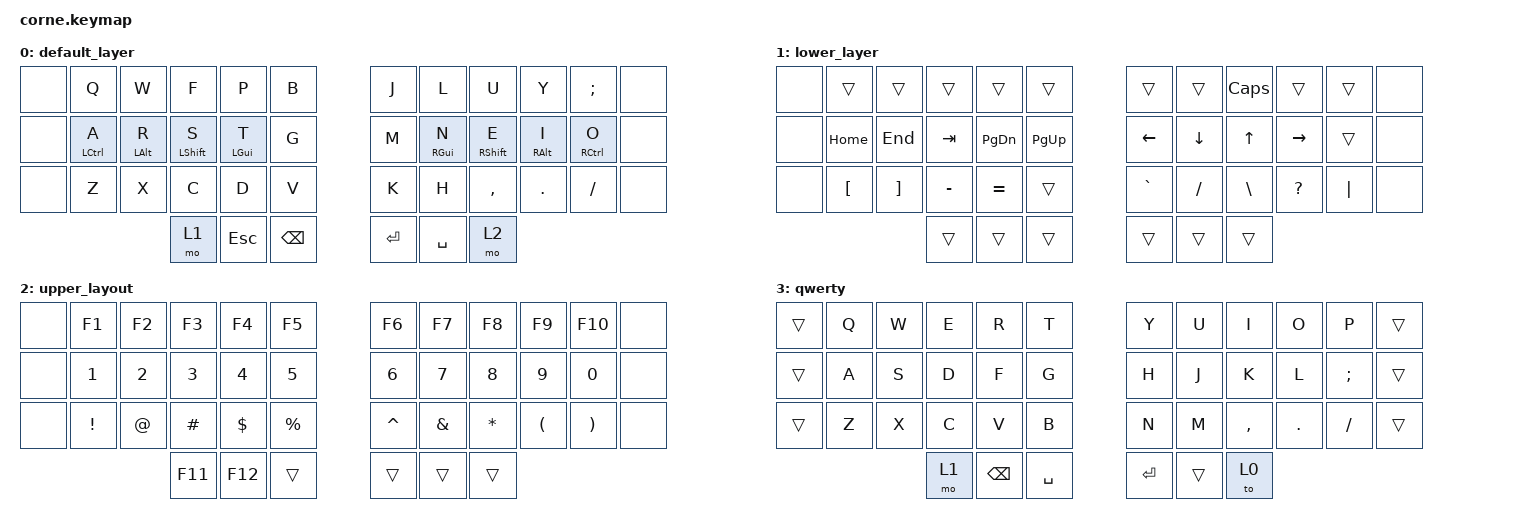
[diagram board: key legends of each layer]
/*
 * Copyright (c) 2020 The ZMK Contributors
 *
 * SPDX-License-Identifier: MIT
 */

#include <behaviors.dtsi>
#include <dt-bindings/zmk/keys.h>

&mt {
    require-prior-idle-ms = <125>;
    tapping-term-ms = <250>;
    flavor = "tap-preferred";
    quick-tap-ms = <250>;
};

/ {
    keymap {
        compatible = "zmk,keymap";

        default_layer {
            // -----------------------------------------------------------------------------------------
            // |  TAB |  Q  |  W  |  E  |  R  |  T  |   |  Y  |  U   |  I  |  O  |  P  | BKSP |
            // | CTRL |  A  |  S  |  D  |  F  |  G  |   |  H  |  J   |  K  |  L  |  ;  |  '   |
            // | SHFT |  Z  |  X  |  C  |  V  |  B  |   |  N  |  M   |  ,  |  .  |  /  | ESC  |
            //                    | GUI | LWR | SPC |   | ENT | RSE  | ALT |

            bindings = <
&none  &kp Q        &kp W           &kp F             &kp P           &kp B            &kp J    &kp L            &kp U              &kp Y            &kp SEMICOLON  &none
&none  &mt LCTRL A  &mt LEFT_ALT R  &mt LEFT_SHIFT S  &mt LEFT_GUI T  &kp G            &kp M    &mt RIGHT_GUI N  &mt RIGHT_SHIFT E  &mt RIGHT_ALT I  &mt RCTRL O    &none
&none  &kp Z        &kp X           &kp C             &kp D           &kp V            &kp K    &kp H            &kp COMMA          &kp DOT          &kp FSLH       &none
                                    &mo 1             &kp ESCAPE      &kp BACKSPACE    &kp RET  &kp SPACE        &mo 2
            >;
        };

        lower_layer {
            // -----------------------------------------------------------------------------------------
            // |  TAB |  1  |  2  |  3  |  4  |  5  |   |  6  |  7  |  8  |  9  |  0  | BKSP |
            // | BTCLR| BT1 | BT2 | BT3 | BT4 | BT5 |   | LFT | DWN |  UP | RGT |     |      |
            // | SHFT |     |     |     |     |     |   |     |     |     |     |     |      |
            //                    | GUI |     | SPC |   | ENT |     | ALT |

            bindings = <
&none  &trans            &trans             &trans     &trans         &trans         &trans     &trans     &kp CAPS       &trans        &trans    &none
&none  &kp HOME          &kp END            &kp TAB    &kp PAGE_DOWN  &kp PAGE_UP    &kp LEFT   &kp DOWN   &kp UP_ARROW   &kp RIGHT     &trans    &none
&none  &kp LEFT_BRACKET  &kp RIGHT_BRACKET  &kp MINUS  &kp EQUAL      &trans         &kp GRAVE  &kp SLASH  &kp BACKSLASH  &kp QUESTION  &kp PIPE  &none
                                            &trans     &trans         &trans         &trans     &trans     &trans
            >;
        };

        upper_layout {
            // -----------------------------------------------------------------------------------------
            // |  TAB |  !  |  @  |  #  |  $  |  %  |   |  ^  |  &  |  *  |  (  |  )  | BKSP |
            // | CTRL |     |     |     |     |     |   |  -  |  =  |  [  |  ]  |  \  |  `   |
            // | SHFT |     |     |     |     |     |   |  _  |  +  |  {  |  }  | "|" |  ~   |
            //                    | GUI |     | SPC |   | ENT |     | ALT |

            bindings = <
&none  &kp F1    &kp F2  &kp F3    &kp F4    &kp F5         &kp F6     &kp F7    &kp F8     &kp F9                &kp F10                &none
&none  &kp N1    &kp N2  &kp N3    &kp N4    &kp N5         &kp N6     &kp N7    &kp N8     &kp N9                &kp N0                 &none
&none  &kp EXCL  &kp AT  &kp HASH  &kp DLLR  &kp PERCENT    &kp CARET  &kp AMPS  &kp ASTRK  &kp LEFT_PARENTHESIS  &kp RIGHT_PARENTHESIS  &none
                         &kp F11   &kp F12   &trans         &trans     &trans    &trans
            >;
        };

        qwerty {
            bindings = <
&trans  &kp Q  &kp W  &kp E  &kp R     &kp T        &kp Y      &kp U   &kp I      &kp O    &kp P     &trans
&trans  &kp A  &kp S  &kp D  &kp F     &kp G        &kp H      &kp J   &kp K      &kp L    &kp SEMI  &trans
&trans  &kp Z  &kp X  &kp C  &kp V     &kp B        &kp N      &kp M   &kp COMMA  &kp DOT  &kp FSLH  &trans
                      &mo 1  &kp BSPC  &kp SPACE    &kp ENTER  &trans  &to 0
            >;
        };
    };
};
